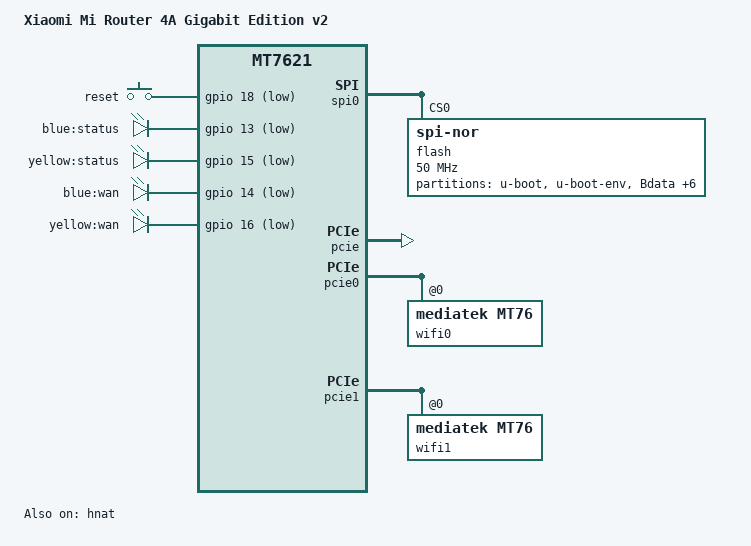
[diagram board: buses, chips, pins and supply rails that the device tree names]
// SPDX-License-Identifier: GPL-2.0-or-later OR MIT

#include "mt7621.dtsi"

#include <dt-bindings/gpio/gpio.h>
#include <dt-bindings/input/input.h>

/ {
	compatible = "xiaomi,mi-router-4a-gigabit-v2", "mediatek,mt7621-soc";
	model = "Xiaomi Mi Router 4A Gigabit Edition v2";

	aliases {
		led-boot = &led_status_yellow;
		led-failsafe = &led_status_yellow;
		led-running = &led_status_blue;
		led-upgrade = &led_status_yellow;
		label-mac-device = &wan;
	};

	chosen {
		bootargs = "console=ttyS0,115200n8";
	};

	keys {
		compatible = "gpio-keys";

		reset {
			label = "reset";
			gpios = <&gpio 18 GPIO_ACTIVE_LOW>;
			linux,code = <KEY_RESTART>;
		};
	};

	leds {
		compatible = "gpio-leds";

		led_status_blue: status_blue {
			label = "blue:status";
			gpios = <&gpio 13 GPIO_ACTIVE_LOW>;
		};

		led_status_yellow: status_yellow {
			label = "yellow:status";
			gpios = <&gpio 15 GPIO_ACTIVE_LOW>;
		};

		wan_blue {
			label = "blue:wan";
			gpios = <&gpio 14 GPIO_ACTIVE_LOW>;
		};

		wan_yellow {
			label = "yellow:wan";
			gpios = <&gpio 16 GPIO_ACTIVE_LOW>;
		};
	};

};

&spi0 {
	status = "okay";

	flash@0 {
		compatible = "jedec,spi-nor";
		reg = <0>;
		spi-max-frequency = <50000000>;
		m25p,fast-read;

		partitions: partitions {
			compatible = "fixed-partitions";
			#address-cells = <1>;
			#size-cells = <1>;

			partition@0 {
				label = "u-boot";
				reg = <0x0 0x30000>;
				read-only;
			};

			partition@30000 {
				label = "u-boot-env";
				reg = <0x30000 0x10000>;
				read-only;
			};

			partition@40000 {
				label = "Bdata";
				reg = <0x40000 0x10000>;
				read-only;
			};

			factory: partition@50000 {
				label = "factory";
				reg = <0x50000 0x10000>;
				read-only;
			};

			partition@60000 {
				label = "crash";
				reg = <0x60000 0x10000>;
				read-only;
			};

			partition@70000 {
				label = "cfg_bak";
				reg = <0x70000 0x10000>;
				read-only;
			};

			partition@80000 {
				label = "overlay";
				reg = <0x80000 0x100000>;
				read-only;
			};

			partition@180000 {
				compatible = "denx,uimage";
				label = "firmware";
				reg = <0x180000 0xe70000>;
			};
			partition@ff0000 {
				label = "Config";
				reg = <0xff0000 0x10000>;
				read-only;
			};

		};
	};
};

&pcie {
	status = "okay";
};

&pcie0 {
	wifi0: wifi@0,0 {
		compatible = "mediatek,mt76";
		reg = <0x0000 0 0 0 0>;
	};
};

&pcie1 {
	wifi1: wifi@0,0 {
		compatible = "mediatek,mt76";
		reg = <0x0000 0 0 0 0>;
	};
};

&wifi0 {
	mediatek,mtd-eeprom = <&factory 0x0000>;
	ieee80211-freq-limit = <2400000 2500000>;
};

&wifi1 {
	mediatek,mtd-eeprom = <&factory 0x8000>;
	ieee80211-freq-limit = <5000000 6000000>;
};

&gmac0 {
	nvmem-cells = <&macaddr_factory_e000>;
	nvmem-cell-names = "mac-address";
};

&gmac1 {
	nvmem-cells = <&macaddr_factory_e006>;
	nvmem-cell-names = "mac-address";
};

&hnat {
	mtketh-wan = "eth1";
	mtketh-ppd = "eth0";
	mtketh-lan = "eth0";
	ext-devices = "wlan0","wlan1","rax0","ra0", "rai0","apclii0","apclix0", "apcli0";
	mtketh-max-gmac = <2>;
	/delete-property/
	mtkdsa-wan-port;
	status = "okay";
};

&gsw {
	mediatek,mdio = <&mdio>;
	mediatek,portmap = "lllwl";
	mediatek,mcm;
	mt7530,direct-phy-access;

	resets = <&rstctrl 2>;
	reset-names = "mcm";

	port5: port@5 {
		compatible = "mediatek,mt753x-port";
		reg = <5>;
		phy-mode = "rgmii";
		fixed-link {
			speed = <1000>;
			full-duplex;
		};
	};

	port6: port@6 {
		compatible = "mediatek,mt753x-port";
		reg = <6>;
		phy-mode = "rgmii";
		fixed-link {
			speed = <1000>;
			full-duplex;
		};
	};

	mdio-bus {
		#address-cells = <1>;
		#size-cells = <0>;
	};
};

&state_default {
	gpio {
		groups = "jtag", "uart2", "uart3", "wdt";
		function = "gpio";
	};
};

&factory {
	compatible = "nvmem-cells";
	#address-cells = <1>;
	#size-cells = <1>;

	macaddr_factory_e000: macaddr@e000 {
		reg = <0xe000 0x6>;
	};

	macaddr_factory_e006: macaddr@e006 {
		reg = <0xe006 0x6>;
	};
};

&switch0 {
	status = "disabled";
};
